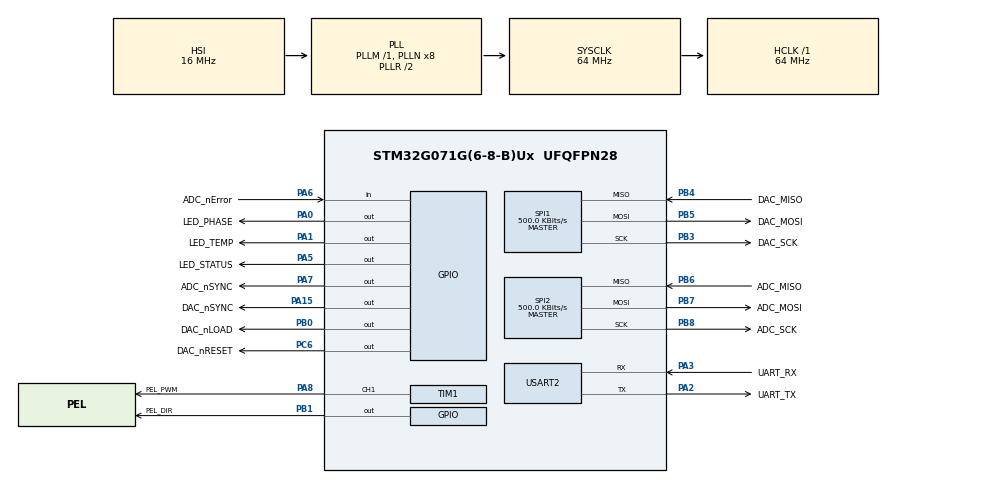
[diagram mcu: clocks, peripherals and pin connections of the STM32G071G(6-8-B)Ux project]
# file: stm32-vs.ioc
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Dma.Request0=USART2_RX
Dma.USART2_RX.0.Direction=DMA_PERIPH_TO_MEMORY
Dma.USART2_RX.0.EventEnable=DISABLE
Dma.USART2_RX.0.Instance=DMA1_Channel1
Dma.USART2_RX.0.MemDataAlignment=DMA_MDATAALIGN_BYTE
Dma.USART2_RX.0.MemInc=DMA_MINC_ENABLE
Dma.USART2_RX.0.Mode=DMA_CIRCULAR
Dma.USART2_RX.0.PeriphDataAlignment=DMA_PDATAALIGN_BYTE
Dma.USART2_RX.0.PeriphInc=DMA_PINC_DISABLE
Dma.USART2_RX.0.Polarity=HAL_DMAMUX_REQ_GEN_RISING
Dma.USART2_RX.0.Priority=DMA_PRIORITY_LOW
Dma.USART2_RX.0.RequestNumber=1
Dma.USART2_RX.0.SignalID=NONE
Dma.USART2_RX.0.SyncEnable=DISABLE
Dma.USART2_RX.0.SyncPolarity=HAL_DMAMUX_SYNC_NO_EVENT
Dma.USART2_RX.0.SyncRequestNumber=1
Dma.USART2_RX.0.SyncSignalID=NONE
LPTIM1.ClockPrescaler=LPTIM_PRESCALER_DIV128
LPTIM1.UpdateMode=LPTIM_UPDATE_IMMEDIATE
Mcu.Family=STM32G0
Mcu.Name=STM32G071G(6-8-B)Ux
Mcu.Package=UFQFPN28
NVIC.DMA1_Channel1_IRQn=true\:0\:0\:false\:false\:true\:false\:true
NVIC.FLASH_IRQn=true\:0\:0\:false\:false\:true\:true\:true
NVIC.RCC_IRQn=true\:0\:0\:false\:false\:true\:true\:false
NVIC.SPI2_IRQn=true\:0\:0\:false\:false\:true\:true\:true
NVIC.TIM6_DAC_LPTIM1_IRQn=true\:0\:0\:false\:false\:true\:true\:true
NVIC.USART2_IRQn=true\:0\:0\:false\:false\:true\:true\:true
PA0.GPIO_Label=LED_PHASE
PA0.Signal=GPIO_Output
PA1.GPIO_Label=LED_TEMP
PA1.Signal=GPIO_Output
PA13.Mode=Serial_Wire
PA13.Signal=SYS_SWDIO
PA14-BOOT0.Mode=Serial_Wire
PA14-BOOT0.Signal=SYS_SWCLK
PA15.GPIO_Label=DAC_nSYNC
PA15.Signal=GPIO_Output
PA2.GPIO_Label=UART_TX
PA2.Mode=Asynchronous
PA2.Signal=USART2_TX
PA3.GPIO_Label=UART_RX
PA3.Mode=Asynchronous
PA3.Signal=USART2_RX
PA5.GPIO_Label=LED_STATUS
PA5.Signal=GPIO_Output
PA6.GPIO_Label=ADC_nError
PA6.Signal=GPIO_Input
PA7.GPIO_Label=ADC_nSYNC
PA7.Signal=GPIO_Output
PA8.GPIO_Label=PEL_PWM
PA8.Signal=S_TIM1_CH1
PB0.GPIO_Label=DAC_nLOAD
PB0.Signal=GPIO_Output
PB1.GPIO_Label=PEL_DIR
PB1.Signal=GPIO_Output
PB3.GPIO_Label=DAC_SCK
PB3.Mode=Full_Duplex_Master
PB3.Signal=SPI1_SCK
PB4.GPIO_Label=DAC_MISO
PB4.Mode=Full_Duplex_Master
PB4.Signal=SPI1_MISO
PB5.GPIO_Label=DAC_MOSI
PB5.Mode=Full_Duplex_Master
PB5.Signal=SPI1_MOSI
PB6.GPIO_Label=ADC_MISO
PB6.Mode=Full_Duplex_Master
PB6.Signal=SPI2_MISO
PB7.GPIO_Label=ADC_MOSI
PB7.Mode=Full_Duplex_Master
PB7.Signal=SPI2_MOSI
PB8.GPIO_Label=ADC_SCK
PB8.Mode=Full_Duplex_Master
PB8.Signal=SPI2_SCK
PC14-OSC32_IN\ (PC14).Mode=LSE-External-Oscillator
PC14-OSC32_IN\ (PC14).Signal=RCC_OSC32_IN
PC15-OSC32_OUT\ (PC15).Mode=LSE-External-Oscillator
PC15-OSC32_OUT\ (PC15).Signal=RCC_OSC32_OUT
PC6.GPIO_Label=DAC_nRESET
PC6.Signal=GPIO_Output
ProjectManager.HeapSize=0x200
ProjectManager.StackSize=0x400
ProjectManager.TargetToolchain=Makefile
RCC.ADCFreq_Value=64000000
RCC.AHBFreq_Value=64000000
RCC.CortexFreq_Value=64000000
RCC.EXTERNAL_CLOCK_VALUE=48000
RCC.HCLKFreq_Value=64000000
RCC.HSE_VALUE=8000000
RCC.HSI_VALUE=16000000
RCC.LPTIM1CLockSelection=RCC_LPTIM1CLKSOURCE_LSI
RCC.LPTIM2CLockSelection=RCC_LPTIM2CLKSOURCE_LSE
RCC.LSE_Timout=10000
RCC.RTCClockSelection=RCC_RTCCLKSOURCE_LSE
RCC.SYSCLKFreq_VALUE=64000000
RCC.SYSCLKSource=RCC_SYSCLKSOURCE_PLLCLK
RCC.VCOOutputFreq_Value=128000000
SH.S_TIM1_CH1.0=TIM1_CH1,PWM Generation1 CH1
SPI1.BaudRatePrescaler=SPI_BAUDRATEPRESCALER_128
SPI1.CLKPolarity=SPI_POLARITY_HIGH
SPI1.CalculateBaudRate=500.0 KBits/s
SPI1.DataSize=SPI_DATASIZE_8BIT
SPI1.Direction=SPI_DIRECTION_2LINES
SPI1.Mode=SPI_MODE_MASTER
SPI1.VirtualType=VM_MASTER
SPI2.BaudRatePrescaler=SPI_BAUDRATEPRESCALER_128
SPI2.CLKPhase=SPI_PHASE_1EDGE
SPI2.CalculateBaudRate=500.0 KBits/s
SPI2.DataSize=SPI_DATASIZE_8BIT
SPI2.Direction=SPI_DIRECTION_2LINES
SPI2.Mode=SPI_MODE_MASTER
SPI2.VirtualType=VM_MASTER
TIM1.Channel-PWM\ Generation1\ CH1=TIM_CHANNEL_1
TIM1.Period=100
TIM1.Prescaler=640
USART2.FIFOMode=FIFOMODE_DISABLE
USART2.SwapParam=ADVFEATURE_SWAP_DISABLE
USART2.VirtualMode-Asynchronous=VM_ASYNC
VP_LPTIM1_VS_LPTIM_counterModeInternalClock.Mode=Counts__internal_clock_event_00
VP_SYS_VS_DBSignals.Mode=DisableDeadBatterySignals
VP_TIM1_VS_ClockSourceINT.Mode=Internal
board=custom

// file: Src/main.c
/* USER CODE BEGIN Header */
/**
	******************************************************************************
	* @file           : main.c
	* @brief          : Main program body
	******************************************************************************
	* @attention
	*
	* <h2><center>&copy; Copyright (c) 2020 STMicroelectronics.
	* All rights reserved.</center></h2>
	*
	* This software component is licensed by ST under BSD 3-Clause license,
	* the "License"; You may not use this file except in compliance with the
	* License. You may obtain a copy of the License at:
	*                        opensource.org/licenses/BSD-3-Clause
	*
	******************************************************************************
	*/

/* USER CODE END Header */

#include "main.h"
#include "dma.h"
#include "lptim.h"
#include "spi.h"
#include "tim.h"
#include "usart.h"
#include "gpio.h"

/* USER CODE BEGIN Includes */
#include "ADC.h"
#include "DAC.h"
#include "state.h"
#include "usart_utils.h"
#include "cmd.h"
#include "Filter.h"
#include "PID704.h"
#include "values.h"
#include "TEMP_PID.h"
/* USER CODE END Includes */

/* USER CODE BEGIN PV */
state State = {0};
/* USER CODE END PV */

void SystemClock_Config(void);

int main(void)
{

  /* MCU Configuration--------------------------------------------------------*/

  /* Reset of all peripherals, Initializes the Flash interface and the Systick. */
  HAL_Init();

  /* Configure the system clock */
  SystemClock_Config();

  /* Initialize all configured peripherals */
  MX_GPIO_Init();
  MX_DMA_Init();
  MX_LPTIM1_Init();
  MX_USART2_UART_Init();
  MX_SPI2_Init();
  MX_SPI1_Init();
  MX_TIM1_Init();
  /* USER CODE BEGIN 2 */

  HAL_LPTIM_MspInit(&hlptim1);
  HAL_LPTIM_Counter_Start_IT(&hlptim1, LPTIM_PRESCALER_1s_LSI);

  HAL_SPI_MspInit(&hspi2);
  HAL_SPI_MspInit(&hspi1);

  SERIAL_WRITE(SERIAL_CLS);
  SERIAL_WRITE(RESET);

  HAL_TIM_Base_MspInit(&htim1);
  HAL_TIM_PWM_Start(&htim1, TIM_CHANNEL_1);

  ADC_reset();
  ADC_config(ADC_SPS_200);
  HAL_UART_Receive_DMA(&huart2, State.UART_RX_BUFF, UART_RX_BUFFER_LENGTH);

  DAC_reset();

  //IRQ PRIORITY OVERRIDES:
  /* EXTI interrupt init*/
  HAL_NVIC_EnableIRQ(EXTI4_15_IRQn);
  HAL_InitTick(0);
  HAL_NVIC_SetPriority(EXTI4_15_IRQn, 1, 0);
  HAL_NVIC_SetPriority(DMA1_Channel1_IRQn, 2, 0);
  HAL_NVIC_SetPriority(TIM6_DAC_LPTIM1_IRQn, 2, 0);
  HAL_NVIC_SetPriority(SPI2_IRQn, 2, 0);
  HAL_NVIC_SetPriority(USART2_IRQn, 2, 0);

  /* USER CODE END 2 */

  /* Infinite loop */
  /* USER CODE BEGIN WHILE */

  DAC_cmd(RF_ATT_352_FINE + DAC_WRITE + 0xffff);
  DAC_cmd(RF_ATT_352_OFFSET + DAC_WRITE + 0xffff);
  DAC_cmd(RF_ATT_704_FINE + DAC_WRITE + 0xffff);
  DAC_cmd(RF_ATT_704_OFFSET + DAC_WRITE + 0xffff);

  ADC_update();

  TEMP_PID_Init();
  Calib704();
  Calib352();

  PID704_Init();
  PID352_Init();

  State.cmd = cmd_rf_pid;
  State.cmdLoop = 1;
  uint32_t counter = 0;
  while (1)
  {
    if (State.cmd && (State.timer_1s_flag || !State.cmdLoop))
    {
      State.timer_1s_flag = 0;
      SERIAL_WRITE(SERIAL_CLS);
      cmd();
    };
    if (State.ADC_Updated)
    {
      counter++;
      Filter();

      if (counter % FilterLength == 0 && State.ADC_Filter_Valid)
      {
        PID704();
        PID352();
        TEMP_PID();
      }
    };
    /* USER CODE END WHILE */

  }
}

void SystemClock_Config(void)
{
  RCC_OscInitTypeDef RCC_OscInitStruct = {0};
  RCC_ClkInitTypeDef RCC_ClkInitStruct = {0};
  RCC_PeriphCLKInitTypeDef PeriphClkInit = {0};

  /** Configure the main internal regulator output voltage
  */
  HAL_PWREx_ControlVoltageScaling(PWR_REGULATOR_VOLTAGE_SCALE1);
  /** Initializes the CPU, AHB and APB busses clocks
  */
  RCC_OscInitStruct.OscillatorType = RCC_OSCILLATORTYPE_HSI | RCC_OSCILLATORTYPE_LSI;
  RCC_OscInitStruct.HSIState = RCC_HSI_ON;
  RCC_OscInitStruct.HSIDiv = RCC_HSI_DIV1;
  RCC_OscInitStruct.HSICalibrationValue = RCC_HSICALIBRATION_DEFAULT;
  RCC_OscInitStruct.LSIState = RCC_LSI_ON;
  RCC_OscInitStruct.PLL.PLLState = RCC_PLL_ON;
  RCC_OscInitStruct.PLL.PLLSource = RCC_PLLSOURCE_HSI;
  RCC_OscInitStruct.PLL.PLLM = RCC_PLLM_DIV1;
  RCC_OscInitStruct.PLL.PLLN = 8;
  RCC_OscInitStruct.PLL.PLLP = RCC_PLLP_DIV2;
  RCC_OscInitStruct.PLL.PLLQ = RCC_PLLQ_DIV2;
  RCC_OscInitStruct.PLL.PLLR = RCC_PLLR_DIV2;
  if (HAL_RCC_OscConfig(&RCC_OscInitStruct) != HAL_OK)
  {
    Error_Handler();
  }
  /** Initializes the CPU, AHB and APB busses clocks
  */
  RCC_ClkInitStruct.ClockType = RCC_CLOCKTYPE_HCLK | RCC_CLOCKTYPE_SYSCLK | RCC_CLOCKTYPE_PCLK1;
  RCC_ClkInitStruct.SYSCLKSource = RCC_SYSCLKSOURCE_PLLCLK;
  RCC_ClkInitStruct.AHBCLKDivider = RCC_SYSCLK_DIV1;
  RCC_ClkInitStruct.APB1CLKDivider = RCC_HCLK_DIV1;

  if (HAL_RCC_ClockConfig(&RCC_ClkInitStruct, FLASH_LATENCY_2) != HAL_OK)
  {
    Error_Handler();
  }
  /** Initializes the peripherals clocks
  */
  PeriphClkInit.PeriphClockSelection = RCC_PERIPHCLK_USART2 | RCC_PERIPHCLK_LPTIM1 | RCC_PERIPHCLK_TIM1;
  PeriphClkInit.Usart2ClockSelection = RCC_USART2CLKSOURCE_PCLK1;
  PeriphClkInit.Lptim1ClockSelection = RCC_LPTIM1CLKSOURCE_LSI;
  PeriphClkInit.Tim1ClockSelection = RCC_TIM1CLKSOURCE_PCLK1;
  if (HAL_RCCEx_PeriphCLKConfig(&PeriphClkInit) != HAL_OK)
  {
    Error_Handler();
  }
}

void Error_Handler(void)
{
  /* USER CODE BEGIN Error_Handler_Debug */
  for (int i = 0; i < 10; i++)
  {
    HAL_GPIO_TogglePin(LED_PHASE_GPIO_Port, LED_PHASE_Pin);
    HAL_Delay(100);
  }
  HAL_GPIO_WritePin(LED_PHASE_GPIO_Port, LED_PHASE_Pin, 0);

  /* User can add his own implementation to report the HAL error return state */

  /* USER CODE END Error_Handler_Debug */
}

/************************ (C) COPYRIGHT STMicroelectronics *****END OF FILE****/
